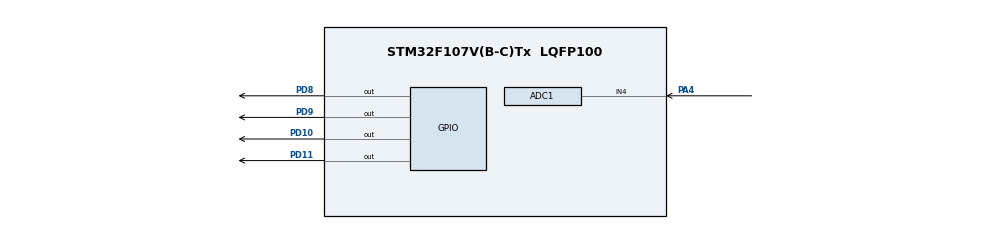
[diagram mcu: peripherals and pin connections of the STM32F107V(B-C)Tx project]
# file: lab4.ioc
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ADC1.Channel-0\#ChannelRegularConversion=ADC_CHANNEL_4
ADC1.NbrOfConversionFlag=1
ADC1.Rank-0\#ChannelRegularConversion=1
ADC1.SamplingTime-0\#ChannelRegularConversion=ADC_SAMPLETIME_1CYCLE_5
ADC1.master=1
Mcu.Family=STM32F1
Mcu.Name=STM32F107V(B-C)Tx
Mcu.Package=LQFP100
NVIC.PriorityGroup=NVIC_PRIORITYGROUP_4
OSC_IN.Mode=HSE-External-Oscillator
OSC_IN.Signal=RCC_OSC_IN
OSC_OUT.Mode=HSE-External-Oscillator
OSC_OUT.Signal=RCC_OSC_OUT
PA13.Mode=Serial_Wire
PA13.Signal=SYS_JTMS-SWDIO
PA14.Mode=Serial_Wire
PA14.Signal=SYS_JTCK-SWCLK
PA4.Signal=ADCx_IN4
PD10.Signal=GPIO_Output
PD11.Signal=GPIO_Output
PD8.Signal=GPIO_Output
PD9.Signal=GPIO_Output
ProjectManager.HeapSize=0x200
ProjectManager.StackSize=0x400
ProjectManager.TargetToolchain=MDK-ARM V5.32
RCC.USBFreq_Value=10666666.666666666
SH.ADCx_IN4.0=ADC1_IN4,IN4
board=custom

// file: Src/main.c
/* USER CODE BEGIN Header */
/**
  ******************************************************************************
  * @file           : main.c
  * @brief          : Main program body
  ******************************************************************************
  * @attention
  *
  * Copyright (c) 2022 STMicroelectronics.
  * All rights reserved.
  *
  * This software is licensed under terms that can be found in the LICENSE file
  * in the root directory of this software component.
  * If no LICENSE file comes with this software, it is provided AS-IS.
  *
  ******************************************************************************
  */
/* USER CODE END Header */
#include "main.h"

ADC_HandleTypeDef hadc1;

void SystemClock_Config(void);
static void MX_GPIO_Init(void);
static void MX_ADC1_Init(void);

int main(void)
{

  /* MCU Configuration--------------------------------------------------------*/

  /* Reset of all peripherals, Initializes the Flash interface and the Systick. */
  HAL_Init();

  /* Configure the system clock */
  SystemClock_Config();

  /* Initialize all configured peripherals */
  MX_GPIO_Init();
  MX_ADC1_Init();
  /* USER CODE BEGIN 2 */
/* USER CODE BEGIN 2 */
	HAL_ADCEx_Calibration_Start(&hadc1);
	uint32_t adcReturnValue=0;
	int i=0;
	int coeff=1;
  /* USER CODE END 2 */

  /* Infinite loop */
  /* USER CODE BEGIN WHILE */
  while (1)
  {
		adcReturnValue=adcReturnValue;
		HAL_ADC_Start(&hadc1);
		if(HAL_ADC_PollForConversion(&hadc1, 1000)==HAL_OK){
			adcReturnValue=HAL_ADC_GetValue(&hadc1);
		}
		uint16_t pin;
		if (i == 0){
				pin=GPIO_PIN_8;
				coeff=1;
		}
		else if (i == 1){
				pin=GPIO_PIN_9;
	   }
		else if (i == 2){
				pin=GPIO_PIN_10;
		}
		else if (i == 3){
	    	pin=GPIO_PIN_11;
				coeff=-1;
		}

		i+=coeff;
		HAL_Delay(adcReturnValue);
		HAL_GPIO_WritePin(GPIOD, pin, GPIO_PIN_SET);
		HAL_Delay(adcReturnValue);
		HAL_GPIO_WritePin(GPIOD, pin, GPIO_PIN_RESET);
    /* USER CODE END WHILE */

  }
}

void SystemClock_Config(void)
{
  RCC_OscInitTypeDef RCC_OscInitStruct = {0};
  RCC_ClkInitTypeDef RCC_ClkInitStruct = {0};
  RCC_PeriphCLKInitTypeDef PeriphClkInit = {0};

  /** Initializes the RCC Oscillators according to the specified parameters
  * in the RCC_OscInitTypeDef structure.
  */
  RCC_OscInitStruct.OscillatorType = RCC_OSCILLATORTYPE_HSI;
  RCC_OscInitStruct.HSIState = RCC_HSI_ON;
  RCC_OscInitStruct.HSICalibrationValue = RCC_HSICALIBRATION_DEFAULT;
  RCC_OscInitStruct.PLL.PLLState = RCC_PLL_NONE;
  RCC_OscInitStruct.PLL2.PLL2State = RCC_PLL_NONE;
  if (HAL_RCC_OscConfig(&RCC_OscInitStruct) != HAL_OK)
  {
    Error_Handler();
  }
  /** Initializes the CPU, AHB and APB buses clocks
  */
  RCC_ClkInitStruct.ClockType = RCC_CLOCKTYPE_HCLK|RCC_CLOCKTYPE_SYSCLK
                              |RCC_CLOCKTYPE_PCLK1|RCC_CLOCKTYPE_PCLK2;
  RCC_ClkInitStruct.SYSCLKSource = RCC_SYSCLKSOURCE_HSI;
  RCC_ClkInitStruct.AHBCLKDivider = RCC_SYSCLK_DIV1;
  RCC_ClkInitStruct.APB1CLKDivider = RCC_HCLK_DIV1;
  RCC_ClkInitStruct.APB2CLKDivider = RCC_HCLK_DIV1;

  if (HAL_RCC_ClockConfig(&RCC_ClkInitStruct, FLASH_LATENCY_0) != HAL_OK)
  {
    Error_Handler();
  }
  PeriphClkInit.PeriphClockSelection = RCC_PERIPHCLK_ADC;
  PeriphClkInit.AdcClockSelection = RCC_ADCPCLK2_DIV2;
  if (HAL_RCCEx_PeriphCLKConfig(&PeriphClkInit) != HAL_OK)
  {
    Error_Handler();
  }
  /** Configure the Systick interrupt time
  */
  __HAL_RCC_PLLI2S_ENABLE();
}

static void MX_ADC1_Init(void)
{

  ADC_ChannelConfTypeDef sConfig = {0};

  /** Common config
  */
  hadc1.Instance = ADC1;
  hadc1.Init.ScanConvMode = ADC_SCAN_DISABLE;
  hadc1.Init.ContinuousConvMode = DISABLE;
  hadc1.Init.DiscontinuousConvMode = DISABLE;
  hadc1.Init.ExternalTrigConv = ADC_SOFTWARE_START;
  hadc1.Init.DataAlign = ADC_DATAALIGN_RIGHT;
  hadc1.Init.NbrOfConversion = 1;
  if (HAL_ADC_Init(&hadc1) != HAL_OK)
  {
    Error_Handler();
  }
  /** Configure Regular Channel
  */
  sConfig.Channel = ADC_CHANNEL_4;
  sConfig.Rank = ADC_REGULAR_RANK_1;
  sConfig.SamplingTime = ADC_SAMPLETIME_1CYCLE_5;
  if (HAL_ADC_ConfigChannel(&hadc1, &sConfig) != HAL_OK)
  {
    Error_Handler();
  }

}

static void MX_GPIO_Init(void)
{
  GPIO_InitTypeDef GPIO_InitStruct = {0};

  /* GPIO Ports Clock Enable */
  __HAL_RCC_GPIOA_CLK_ENABLE();
  __HAL_RCC_GPIOD_CLK_ENABLE();

  /*Configure GPIO pin Output Level */
  HAL_GPIO_WritePin(GPIOD, GPIO_PIN_8|GPIO_PIN_9|GPIO_PIN_10|GPIO_PIN_11, GPIO_PIN_RESET);

  /*Configure GPIO pins : PD8 PD9 PD10 PD11 */
  GPIO_InitStruct.Pin = GPIO_PIN_8|GPIO_PIN_9|GPIO_PIN_10|GPIO_PIN_11;
  GPIO_InitStruct.Mode = GPIO_MODE_OUTPUT_PP;
  GPIO_InitStruct.Pull = GPIO_NOPULL;
  GPIO_InitStruct.Speed = GPIO_SPEED_FREQ_LOW;
  HAL_GPIO_Init(GPIOD, &GPIO_InitStruct);

}

void Error_Handler(void)
{
  __disable_irq();
  while (1)
  {
  }
}
